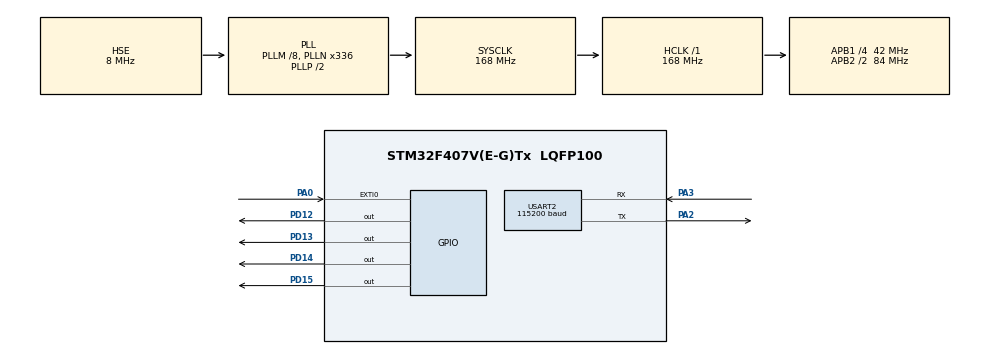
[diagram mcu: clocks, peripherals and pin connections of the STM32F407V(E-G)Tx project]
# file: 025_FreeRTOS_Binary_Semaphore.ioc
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FREERTOS.Tasks01=defaultTask,24,128,StartDefaultTask,Default,NULL,Dynamic,NULL,NULL
FREERTOS.configUSE_NEWLIB_REENTRANT=1
Mcu.Family=STM32F4
Mcu.Name=STM32F407V(E-G)Tx
Mcu.Package=LQFP100
NVIC.EXTI0_IRQn=true\:5\:0\:false\:false\:true\:true\:true\:true\:true
NVIC.PriorityGroup=NVIC_PRIORITYGROUP_4
NVIC.TIM8_TRG_COM_TIM14_IRQn=true\:15\:0\:false\:false\:true\:false\:false\:true\:true
NVIC.TimeBase=TIM8_TRG_COM_TIM14_IRQn
NVIC.TimeBaseIP=TIM14
NVIC.USART2_IRQn=true\:5\:0\:false\:false\:true\:true\:true\:true\:true
PA0-WKUP.Signal=GPXTI0
PA2.Mode=Asynchronous
PA2.Signal=USART2_TX
PA3.Mode=Asynchronous
PA3.Signal=USART2_RX
PD12.Signal=GPIO_Output
PD13.Signal=GPIO_Output
PD14.Signal=GPIO_Output
PD15.Signal=GPIO_Output
PH0-OSC_IN.Mode=HSE-External-Oscillator
PH0-OSC_IN.Signal=RCC_OSC_IN
PH1-OSC_OUT.Mode=HSE-External-Oscillator
PH1-OSC_OUT.Signal=RCC_OSC_OUT
ProjectManager.HeapSize=0x200
ProjectManager.StackSize=0x400
ProjectManager.TargetToolchain=STM32CubeIDE
RCC.48MHZClocksFreq_Value=48000000
RCC.AHBFreq_Value=168000000
RCC.APB1CLKDivider=RCC_HCLK_DIV4
RCC.APB1Freq_Value=42000000
RCC.APB1TimFreq_Value=84000000
RCC.APB2CLKDivider=RCC_HCLK_DIV2
RCC.APB2Freq_Value=84000000
RCC.APB2TimFreq_Value=168000000
RCC.CortexFreq_Value=168000000
RCC.HCLKFreq_Value=168000000
RCC.HSE_VALUE=8000000
RCC.HSI_VALUE=16000000
RCC.LSE_VALUE=32768
RCC.PLLM=8
RCC.PLLN=336
RCC.PLLQ=7
RCC.PLLSourceVirtual=RCC_PLLSOURCE_HSE
RCC.SYSCLKFreq_VALUE=168000000
RCC.SYSCLKSource=RCC_SYSCLKSOURCE_PLLCLK
RCC.VCOOutputFreq_Value=336000000
USART2.BaudRate=115200
USART2.VirtualMode=VM_ASYNC
VP_FREERTOS_VS_CMSIS_V2.Mode=CMSIS_V2
VP_SYS_VS_tim14.Mode=TIM14
board=STM32F407G-DISC1

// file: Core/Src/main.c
/* USER CODE BEGIN Header */
/**
  ******************************************************************************
  * @file           : main.c
  * @brief          : Main program body
  ******************************************************************************
  * @attention
  *
  * Copyright (c) 2023 STMicroelectronics.
  * All rights reserved.
  *
  * This software is licensed under terms that can be found in the LICENSE file
  * in the root directory of this software component.
  * If no LICENSE file comes with this software, it is provided AS-IS.
  *
  ******************************************************************************
  */
/* USER CODE END Header */
#include "main.h"
/* USER CODE BEGIN Includes */
#include "FreeRTOS.h"
#include "task.h"
#include "semphr.h"
#include <string.h>
#include <stdio.h>
/* USER CODE END Includes */

UART_HandleTypeDef huart2;

/* Definitions for defaultTask */

/* USER CODE BEGIN PV */
SemaphoreHandle_t xBinarySemaphore = NULL;
/* USER CODE END PV */

void SystemClock_Config(void);
static void MX_GPIO_Init(void);
static void MX_USART2_UART_Init(void);

/* USER CODE BEGIN 0 */
void HAL_GPIO_EXTI_Callback(uint16_t GPIO_Pin)
{
  if(GPIO_Pin == GPIO_PIN_0)
  {
	  BaseType_t xHigherPriorityTaskWoken = pdFALSE;

	  xSemaphoreGiveFromISR(xBinarySemaphore, &xHigherPriorityTaskWoken);
	  portYIELD_FROM_ISR(xHigherPriorityTaskWoken);
  }
}
void vButtonHandlerTask(void *pvParameters)
{
	const char *msg = "Button was pressed!\r\n";
	for(;;)
	{
		xSemaphoreTake(xBinarySemaphore, portMAX_DELAY);

		HAL_UART_Transmit(&huart2, (uint8_t*)msg, strlen(msg), HAL_MAX_DELAY);
	}
}
/* USER CODE END 0 */

int main(void)
{

  /* MCU Configuration--------------------------------------------------------*/

  /* Reset of all peripherals, Initializes the Flash interface and the Systick. */
  HAL_Init();

  /* Configure the system clock */
  SystemClock_Config();

  /* Initialize all configured peripherals */
  MX_GPIO_Init();
  MX_USART2_UART_Init();
  /* USER CODE BEGIN 2 */
  xBinarySemaphore = xSemaphoreCreateBinary();
  xTaskCreate(vButtonHandlerTask,"Handler", configMINIMAL_STACK_SIZE, NULL, 1,NULL);
  vTaskStartScheduler();
  /* USER CODE END 2 */

  /* Init scheduler */

  /* Create the thread(s) */
  /* creation of defaultTask */

  /* Start scheduler */
  /* We should never get here as control is now taken by the scheduler */
  /* Infinite loop */
  while (1)
  {

  }
}

void SystemClock_Config(void)
{
  RCC_OscInitTypeDef RCC_OscInitStruct = {0};
  RCC_ClkInitTypeDef RCC_ClkInitStruct = {0};

  /** Configure the main internal regulator output voltage
  */
  __HAL_RCC_PWR_CLK_ENABLE();
  __HAL_PWR_VOLTAGESCALING_CONFIG(PWR_REGULATOR_VOLTAGE_SCALE1);

  /** Initializes the RCC Oscillators according to the specified parameters
  * in the RCC_OscInitTypeDef structure.
  */
  RCC_OscInitStruct.OscillatorType = RCC_OSCILLATORTYPE_HSE;
  RCC_OscInitStruct.HSEState = RCC_HSE_ON;
  RCC_OscInitStruct.PLL.PLLState = RCC_PLL_ON;
  RCC_OscInitStruct.PLL.PLLSource = RCC_PLLSOURCE_HSE;
  RCC_OscInitStruct.PLL.PLLM = 8;
  RCC_OscInitStruct.PLL.PLLN = 336;
  RCC_OscInitStruct.PLL.PLLP = RCC_PLLP_DIV2;
  RCC_OscInitStruct.PLL.PLLQ = 7;
  if (HAL_RCC_OscConfig(&RCC_OscInitStruct) != HAL_OK)
  {
    Error_Handler();
  }

  /** Initializes the CPU, AHB and APB buses clocks
  */
  RCC_ClkInitStruct.ClockType = RCC_CLOCKTYPE_HCLK|RCC_CLOCKTYPE_SYSCLK
                              |RCC_CLOCKTYPE_PCLK1|RCC_CLOCKTYPE_PCLK2;
  RCC_ClkInitStruct.SYSCLKSource = RCC_SYSCLKSOURCE_PLLCLK;
  RCC_ClkInitStruct.AHBCLKDivider = RCC_SYSCLK_DIV1;
  RCC_ClkInitStruct.APB1CLKDivider = RCC_HCLK_DIV4;
  RCC_ClkInitStruct.APB2CLKDivider = RCC_HCLK_DIV2;

  if (HAL_RCC_ClockConfig(&RCC_ClkInitStruct, FLASH_LATENCY_5) != HAL_OK)
  {
    Error_Handler();
  }
}

static void MX_USART2_UART_Init(void)
{

  huart2.Instance = USART2;
  huart2.Init.BaudRate = 115200;
  huart2.Init.WordLength = UART_WORDLENGTH_8B;
  huart2.Init.StopBits = UART_STOPBITS_1;
  huart2.Init.Parity = UART_PARITY_NONE;
  huart2.Init.Mode = UART_MODE_TX_RX;
  huart2.Init.HwFlowCtl = UART_HWCONTROL_NONE;
  huart2.Init.OverSampling = UART_OVERSAMPLING_16;
  if (HAL_UART_Init(&huart2) != HAL_OK)
  {
    Error_Handler();
  }

}

static void MX_GPIO_Init(void)
{
  GPIO_InitTypeDef GPIO_InitStruct = {0};

  /* GPIO Ports Clock Enable */
  __HAL_RCC_GPIOH_CLK_ENABLE();
  __HAL_RCC_GPIOA_CLK_ENABLE();
  __HAL_RCC_GPIOD_CLK_ENABLE();

  /*Configure GPIO pin Output Level */
  HAL_GPIO_WritePin(GPIOD, GPIO_PIN_12|GPIO_PIN_13|GPIO_PIN_14|GPIO_PIN_15, GPIO_PIN_RESET);

  /*Configure GPIO pin : PA0 */
  GPIO_InitStruct.Pin = GPIO_PIN_0;
  GPIO_InitStruct.Mode = GPIO_MODE_IT_RISING;
  GPIO_InitStruct.Pull = GPIO_NOPULL;
  HAL_GPIO_Init(GPIOA, &GPIO_InitStruct);

  /*Configure GPIO pins : PD12 PD13 PD14 PD15 */
  GPIO_InitStruct.Pin = GPIO_PIN_12|GPIO_PIN_13|GPIO_PIN_14|GPIO_PIN_15;
  GPIO_InitStruct.Mode = GPIO_MODE_OUTPUT_PP;
  GPIO_InitStruct.Pull = GPIO_NOPULL;
  GPIO_InitStruct.Speed = GPIO_SPEED_FREQ_LOW;
  HAL_GPIO_Init(GPIOD, &GPIO_InitStruct);

  /* EXTI interrupt init*/
  HAL_NVIC_SetPriority(EXTI0_IRQn, 5, 0);
  HAL_NVIC_EnableIRQ(EXTI0_IRQn);

}

void HAL_TIM_PeriodElapsedCallback(TIM_HandleTypeDef *htim)
{
  if (htim->Instance == TIM14) {
    HAL_IncTick();
  }
}

void Error_Handler(void)
{
  __disable_irq();
  while (1)
  {
  }
}
